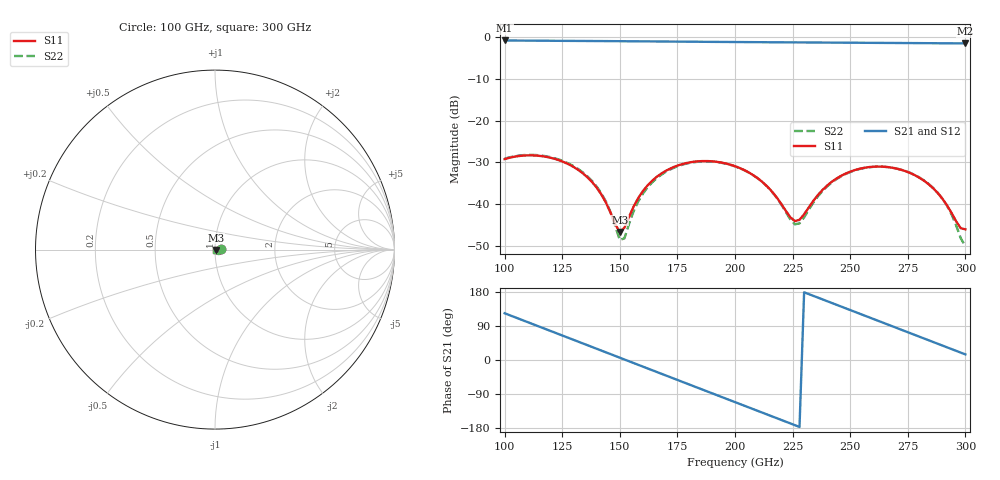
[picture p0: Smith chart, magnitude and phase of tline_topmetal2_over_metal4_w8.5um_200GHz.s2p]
#  GHZ S DB R 50
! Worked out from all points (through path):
!   101 points, 100 GHz to 300 GHz, reference 50 ohm
!   highest |S21| = -0.81 dB at 100 GHz (marker M1); lowest = -1.5 dB at 300 GHz (marker M2)
!   group delay of S21, straight-line fit = 6.51 ps
!   lowest |S11| = -46.7 dB at 150 GHz (marker M3), VSWR 1.01, Z = 50.4 - j0.188 ohm
!   |S11| at or under -10 dB: start of sweep to end of sweep
!   |S22| runs from -50.1 to -28.2 dB; largest |S21 - S12| = 1e-13
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100  -29.23 3.2  -0.81 123.4  -0.81 123.4  -29.13 2.1
116  -28.50 -28.4  -0.87 85.9  -0.87 85.9  -28.37 -30.0
124  -29.57 -43.9  -0.90 67.1  -0.90 67.1  -29.41 -46.0
134  -32.65 -61.6  -0.93 43.6  -0.93 43.6  -32.43 -64.9
144  -39.67 -68.3  -0.97 20.2  -0.97 20.2  -39.43 -76.0
150  -46.68 -23.8  -0.99 6.1  -0.99 6.1  -48.61 -37.8
152  -45.67 5.8  -1.00 1.4  -1.00 1.4  -48.20 3.2
156  -40.59 29.8  -1.01 -8.0  -1.01 -8.0  -41.70 33.4
160  -36.91 31.9  -1.03 -17.4  -1.03 -17.4  -37.50 34.7
168  -32.69 22.2  -1.06 -36.2  -1.06 -36.2  -32.97 23.6
184  -29.75 -7.3  -1.13 -73.7  -1.13 -73.7  -29.85 -7.1
200  -30.92 -37.0  -1.19 -111.1  -1.19 -111.1  -30.96 -37.8
214  -35.78 -55.8  -1.24 -143.9  -1.24 -143.9  -35.82 -57.9
226  -44.07 -19.1  -1.28 -172.0  -1.28 -172.0  -44.84 -22.3
234  -39.22 25.2  -1.30 169.3  -1.30 169.3  -39.63 26.4
248  -32.69 14.9  -1.35 136.5  -1.35 136.5  -32.80 14.9
258  -31.15 -2.9  -1.38 113.1  -1.38 113.1  -31.19 -3.5
268  -31.27 -21.8  -1.41 89.7  -1.41 89.7  -31.26 -23.3
280  -33.67 -43.2  -1.45 61.6  -1.45 61.6  -33.61 -46.5
288  -37.34 -52.6  -1.48 42.9  -1.48 42.9  -37.29 -59.1
294  -42.13 -47.7  -1.50 28.8  -1.50 28.8  -42.47 -60.7
300  -46.04 0.1  -1.52 14.8  -1.52 14.8  -50.07 -8.5
